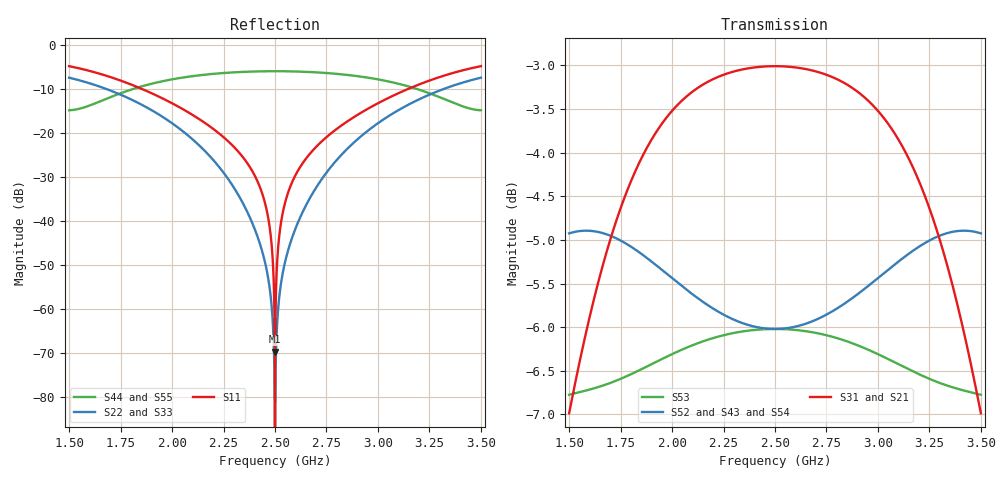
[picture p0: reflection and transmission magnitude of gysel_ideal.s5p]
! Created Fri Oct 24 18:23:55 2025
# hz S db R 50
! 5 Port Network Data from SP1.SP block
! freq  dbS11  angS11  dbS12  angS12  dbS13  angS13  dbS14  angS14
!  dbS15  angS15
!  dbS21  angS21  dbS22  angS22  dbS23  angS23
!  dbS24  angS24  dbS25  angS25
!  dbS31  angS31  dbS32  angS32
!  dbS33  angS33  dbS34  angS34  dbS35  angS35
!  dbS41  angS41
!  dbS42  angS42  dbS43  angS43  dbS44  angS44  dbS45  angS45
!  dbS51  angS51  dbS52  angS52  dbS53  angS53  dbS54  angS54
!  dbS55  angS55
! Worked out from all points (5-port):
!   2001 points, 1.5 GHz to 3.5 GHz, reference 50 ohm
!   strongest paths, dB at 1.5 GHz, 2 GHz, 2.5 GHz, 3 GHz, 3.5 GHz:
!     S31: -7.0, -3.5, -3.0, -3.5, -7.0
!     S21: -7.0, -3.5, -3.0, -3.5, -7.0
!     S52: -4.9, -5.4, -6.0, -5.4, -4.9
!     S43: -4.9, -5.4, -6.0, -5.4, -4.9
!     S54: -5.3, -5.5, -6.0, -5.5, -5.3
!     S53: -6.8, -6.3, -6.0, -6.3, -6.8
!   lowest |S11| = -69.7 dB at 2.499 GHz (marker M1), VSWR 1.00, Z = 50 - j0.0328 ohm
!   |S11| at or under -10 dB: 1.851 GHz to 3.149 GHz (1.297 GHz wide, 51.9 % of centre)
